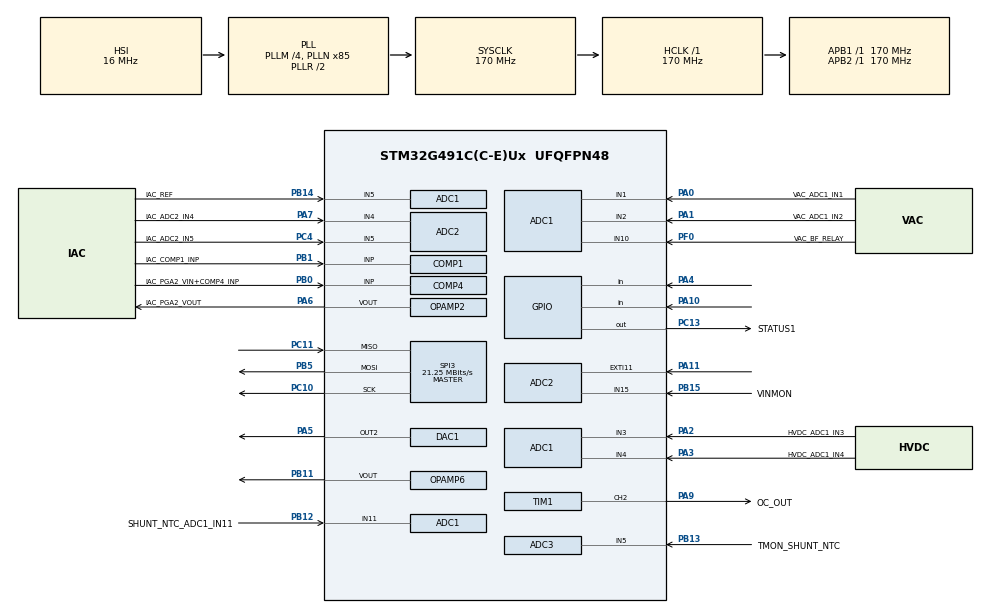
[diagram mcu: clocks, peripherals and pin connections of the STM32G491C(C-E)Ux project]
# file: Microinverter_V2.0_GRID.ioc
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ADC1.Channel-0\#ChannelRegularConversion=ADC_CHANNEL_1
ADC1.Channel-1\#ChannelRegularConversion=ADC_CHANNEL_3
ADC1.ClockPrescaler=ADC_CLOCK_ASYNC_DIV1
ADC1.DMAAccessModeView=ENABLE
ADC1.DMAContinuousRequests=ENABLE
ADC1.EOCSelection=ADC_EOC_SEQ_CONV
ADC1.EnableInjectedConversion=ENABLE
ADC1.ExternalTrigConv=ADC_EXTERNALTRIG_EXT_IT11
ADC1.ExternalTrigConvEdge=ADC_EXTERNALTRIGCONVEDGE_RISING
ADC1.InjNumberOfConversion=1
ADC1.InjectedChannel-2\#ChannelInjectedConversion=ADC_CHANNEL_5
ADC1.InjectedOffsetNumber-2\#ChannelInjectedConversion=ADC_OFFSET_NONE
ADC1.InjectedRank-2\#ChannelInjectedConversion=1
ADC1.InjectedSamplingTime-2\#ChannelInjectedConversion=ADC_SAMPLETIME_2CYCLES_5
ADC1.Mode=ADC_DUALMODE_REGINTERL_INJECSIMULT
ADC1.NbrOfConversion=2
ADC1.NbrOfConversionFlag=1
ADC1.OffsetNumber-0\#ChannelRegularConversion=ADC_OFFSET_NONE
ADC1.OffsetNumber-1\#ChannelRegularConversion=ADC_OFFSET_NONE
ADC1.OversamplingMode=ENABLE
ADC1.Rank-0\#ChannelRegularConversion=1
ADC1.Rank-1\#ChannelRegularConversion=2
ADC1.Rank1_Channel=ADC_CHANNEL_5
ADC1.Rank2_Channel=ADC_CHANNEL_1
ADC1.Rank3_Channel=ADC_CHANNEL_1
ADC1.Rank4_Channel=ADC_CHANNEL_1
ADC1.Ratio=ADC_OVERSAMPLING_RATIO_8
ADC1.SamplingTime-0\#ChannelRegularConversion=ADC_SAMPLETIME_2CYCLES_5
ADC1.SamplingTime-1\#ChannelRegularConversion=ADC_SAMPLETIME_2CYCLES_5
ADC1.SingleDiff-0\#ChannelRegularConversion=ADC_DIFFERENTIAL_ENDED
ADC1.SingleDiff-1\#ChannelRegularConversion=ADC_DIFFERENTIAL_ENDED
ADC1.master=1
ADC2.Channel-0\#ChannelRegularConversion=ADC_CHANNEL_4
ADC2.Channel-1\#ChannelRegularConversion=ADC_CHANNEL_4
ADC2.ClockPrescaler=ADC_CLOCK_ASYNC_DIV1
ADC2.DMAAccessModeView=ENABLE
ADC2.DMAContinuousRequests=DISABLE
ADC2.EOCSelection=ADC_EOC_SEQ_CONV
ADC2.EnableInjectedConversion=ENABLE
ADC2.EnableInjectedOversampling=DISABLE
ADC2.InjNumberOfConversion=4
ADC2.InjectedChannel-2\#ChannelInjectedConversion=ADC_CHANNEL_4
ADC2.InjectedChannel-3\#ChannelInjectedConversion=ADC_CHANNEL_4
ADC2.InjectedChannel-4\#ChannelInjectedConversion=ADC_CHANNEL_4
ADC2.InjectedChannel-5\#ChannelInjectedConversion=ADC_CHANNEL_4
ADC2.InjectedOffsetNumber-2\#ChannelInjectedConversion=ADC_OFFSET_NONE
ADC2.InjectedOffsetNumber-3\#ChannelInjectedConversion=ADC_OFFSET_NONE
ADC2.InjectedOffsetNumber-4\#ChannelInjectedConversion=ADC_OFFSET_NONE
ADC2.InjectedOffsetNumber-5\#ChannelInjectedConversion=ADC_OFFSET_NONE
ADC2.InjectedRank-2\#ChannelInjectedConversion=1
ADC2.InjectedRank-3\#ChannelInjectedConversion=2
ADC2.InjectedRank-4\#ChannelInjectedConversion=3
ADC2.InjectedRank-5\#ChannelInjectedConversion=4
ADC2.InjectedSamplingTime-2\#ChannelInjectedConversion=ADC_SAMPLETIME_2CYCLES_5
ADC2.InjectedSamplingTime-3\#ChannelInjectedConversion=ADC_SAMPLETIME_2CYCLES_5
ADC2.InjectedSamplingTime-4\#ChannelInjectedConversion=ADC_SAMPLETIME_2CYCLES_5
ADC2.InjectedSamplingTime-5\#ChannelInjectedConversion=ADC_SAMPLETIME_2CYCLES_5
ADC2.InjectedSingleDiff-2\#ChannelInjectedConversion=ADC_DIFFERENTIAL_ENDED
ADC2.InjectedSingleDiff-3\#ChannelInjectedConversion=ADC_DIFFERENTIAL_ENDED
ADC2.InjectedSingleDiff-4\#ChannelInjectedConversion=ADC_DIFFERENTIAL_ENDED
ADC2.InjectedSingleDiff-5\#ChannelInjectedConversion=ADC_DIFFERENTIAL_ENDED
ADC2.Mode=ADC_DUALMODE_REGINTERL_INJECSIMULT
ADC2.NbrOfConversion=2
ADC2.NbrOfConversionFlag=1
ADC2.OffsetNumber-0\#ChannelRegularConversion=ADC_OFFSET_NONE
ADC2.OffsetNumber-1\#ChannelRegularConversion=ADC_OFFSET_NONE
ADC2.OversamplingMode=ENABLE
ADC2.Rank-0\#ChannelRegularConversion=1
ADC2.Rank-1\#ChannelRegularConversion=2
ADC2.Rank1_Channel=ADC_CHANNEL_4
ADC2.Rank2_Channel=ADC_CHANNEL_4
ADC2.Rank3_Channel=ADC_CHANNEL_4
ADC2.Rank4_Channel=ADC_CHANNEL_4
ADC2.Ratio=ADC_OVERSAMPLING_RATIO_8
ADC2.SamplingTime-0\#ChannelRegularConversion=ADC_SAMPLETIME_2CYCLES_5
ADC2.SamplingTime-1\#ChannelRegularConversion=ADC_SAMPLETIME_2CYCLES_5
ADC2.SingleDiff-0\#ChannelRegularConversion=ADC_DIFFERENTIAL_ENDED
ADC2.SingleDiff-1\#ChannelRegularConversion=ADC_DIFFERENTIAL_ENDED
ADC3.Channel-0\#ChannelRegularConversion=ADC_CHANNEL_5
ADC3.NbrOfConversionFlag=1
ADC3.OffsetNumber-0\#ChannelRegularConversion=ADC_OFFSET_NONE
ADC3.Rank-0\#ChannelRegularConversion=1
ADC3.SamplingTime-0\#ChannelRegularConversion=ADC_SAMPLETIME_2CYCLES_5
ADC3.master=1
COMP1.Hysteresis=COMP_HYSTERESIS_30MV
COMP1.OutputPol=COMP_OUTPUTPOL_INVERTED
COMP1.TriggerMode=COMP_TRIGGERMODE_NONE
COMP4.Hysteresis=COMP_HYSTERESIS_30MV
COMP4.TriggerMode=COMP_TRIGGERMODE_NONE
DAC1.DAC_Channel-DAC_OUT2=DAC_CHANNEL_2
DAC3.DAC_Channel-DAC_OUT2_Int=DAC_CHANNEL_2
Dma.ADC1.0.Direction=DMA_PERIPH_TO_MEMORY
Dma.ADC1.0.EventEnable=DISABLE
Dma.ADC1.0.Instance=DMA1_Channel1
Dma.ADC1.0.MemDataAlignment=DMA_MDATAALIGN_WORD
Dma.ADC1.0.MemInc=DMA_MINC_ENABLE
Dma.ADC1.0.Mode=DMA_CIRCULAR
Dma.ADC1.0.PeriphDataAlignment=DMA_PDATAALIGN_WORD
Dma.ADC1.0.PeriphInc=DMA_PINC_DISABLE
Dma.ADC1.0.Polarity=HAL_DMAMUX_REQ_GEN_RISING
Dma.ADC1.0.Priority=DMA_PRIORITY_HIGH
Dma.ADC1.0.RequestNumber=1
Dma.ADC1.0.SignalID=NONE
Dma.ADC1.0.SyncEnable=DISABLE
Dma.ADC1.0.SyncPolarity=HAL_DMAMUX_SYNC_NO_EVENT
Dma.ADC1.0.SyncRequestNumber=1
Dma.ADC1.0.SyncSignalID=NONE
Dma.Request0=ADC1
Mcu.Family=STM32G4
Mcu.Name=STM32G491C(C-E)Ux
Mcu.Package=UFQFPN48
NVIC.DMA1_Channel1_IRQn=true\:1\:0\:true\:false\:true\:false\:false\:true
NVIC.PriorityGroup=NVIC_PRIORITYGROUP_4
NVIC.TIM1_BRK_TIM15_IRQn=true\:0\:0\:false\:false\:true\:true\:true\:true
OPAMP2.PowerMode=OPAMP_POWERMODE_HIGHSPEED
OPAMP6.PowerMode=OPAMP_POWERMODE_HIGHSPEED
PA0.GPIO_Label=VAC_ADC1_IN1
PA0.Mode=IN1-Differential
PA0.Signal=ADC1_IN1
PA1.GPIO_Label=VAC_ADC1_IN2
PA1.Mode=IN1-Differential
PA1.Signal=ADC1_IN2
PA10.Signal=GPIO_Input
PA11.Signal=GPXTI11
PA13.Mode=Trace_Asynchronous_SW
PA13.Signal=SYS_JTMS-SWDIO
PA14.Mode=Trace_Asynchronous_SW
PA14.Signal=SYS_JTCK-SWCLK
PA2.GPIO_Label=HVDC_ADC1_IN3
PA2.Mode=IN3-Differential
PA2.Signal=ADC1_IN3
PA3.GPIO_Label=HVDC_ADC1_IN4
PA3.Mode=IN3-Differential
PA3.Signal=ADC1_IN4
PA4.Signal=GPIO_Input
PA5.Signal=COMP_DAC12_group
PA6.GPIO_Label=IAC_PGA2_VOUT
PA6.Mode=PGA Not Connected
PA6.Signal=OPAMP2_VOUT
PA7.GPIO_Label=IAC_ADC2_IN4
PA7.Mode=IN4-Differential
PA7.Signal=ADC2_IN4
PA9.GPIO_Label=OC_OUT
PA9.GPIO_PuPd=GPIO_PULLDOWN
PA9.GPIO_Speed=GPIO_SPEED_FREQ_HIGH
PA9.Signal=S_TIM1_CH2
PB0.GPIO_Label=IAC_PGA2_VIN+COMP4_INP
PB0.Signal=SharedAnalog_PB0
PB1.GPIO_Label=IAC_COMP1_INP
PB1.Mode=INP
PB1.Signal=COMP1_INP
PB11.Mode=Follower-DAC_OUT2-INP
PB11.Signal=OPAMP6_VOUT
PB12.GPIO_Label=SHUNT_NTC_ADC1_IN11
PB12.Mode=IN11-Single-Ended
PB12.Signal=ADC1_IN11
PB13.GPIO_Label=TMON_SHUNT_NTC
PB13.Signal=SharedAnalog_PB13
PB14.GPIO_Label=IAC_REF
PB14.Mode=IN5-Single-Ended
PB14.Signal=ADC1_IN5
PB15.GPIO_Label=VINMON
PB15.Mode=IN15-Single-Ended
PB15.Signal=ADC2_IN15
PB3.Mode=Trace_Asynchronous_SW
PB3.Signal=SYS_JTDO-SWO
PB5.GPIO_Speed=GPIO_SPEED_FREQ_HIGH
PB5.Mode=Full_Duplex_Master
PB5.Signal=SPI3_MOSI
PC10.GPIO_Speed=GPIO_SPEED_FREQ_HIGH
PC10.Mode=Full_Duplex_Master
PC10.Signal=SPI3_SCK
PC11.GPIO_Speed=GPIO_SPEED_FREQ_HIGH
PC11.Mode=Full_Duplex_Master
PC11.Signal=SPI3_MISO
PC13.GPIO_Label=STATUS1
PC13.Signal=GPIO_Output
PC4.GPIO_Label=IAC_ADC2_IN5
PC4.Mode=IN4-Differential
PC4.Signal=ADC2_IN5
PF0-OSC_IN.GPIO_Label=VAC_BF_RELAY
PF0-OSC_IN.Mode=IN10-Single-Ended
PF0-OSC_IN.Signal=ADC1_IN10
ProjectManager.HeapSize=0x200
ProjectManager.StackSize=0x400
ProjectManager.TargetToolchain=STM32CubeIDE
RCC.ADC12CLockSelection=RCC_ADC12CLKSOURCE_PLL
RCC.ADC12Freq_Value=56666666.666666664
RCC.ADC345Freq_Value=170000000
RCC.AHBFreq_Value=170000000
RCC.APB1Freq_Value=170000000
RCC.APB1TimFreq_Value=170000000
RCC.APB2Freq_Value=170000000
RCC.APB2TimFreq_Value=170000000
RCC.CortexFreq_Value=170000000
RCC.EXTERNAL_CLOCK_VALUE=12288000
RCC.HCLKFreq_Value=170000000
RCC.HSE_VALUE=8000000
RCC.HSI48_VALUE=48000000
RCC.HSI_VALUE=16000000
RCC.LSE_VALUE=32768
RCC.PLLM=RCC_PLLM_DIV4
RCC.PLLN=85
RCC.PLLP=RCC_PLLP_DIV6
RCC.SYSCLKFreq_VALUE=170000000
RCC.SYSCLKSource=RCC_SYSCLKSOURCE_PLLCLK
RCC.USBFreq_Value=48000000
RCC.VCOOutputFreq_Value=340000000
SH.COMP_DAC12_group.0=DAC1_OUT2,DAC_OUT2
SH.S_TIM1_CH2.0=TIM1_CH2,PWM Generation2 CH2
SH.SharedAnalog_PB0.0=COMP4_INP,INP
SH.SharedAnalog_PB0.1=OPAMP2_VINP,PGA Not Connected
SH.SharedAnalog_PB13.0=OPAMP6_VINP
SH.SharedAnalog_PB13.1=ADC3_IN5,IN5-Single-Ended
SPI3.BaudRatePrescaler=SPI_BAUDRATEPRESCALER_8
SPI3.CalculateBaudRate=21.25 MBits/s
SPI3.DataSize=SPI_DATASIZE_16BIT
SPI3.Direction=SPI_DIRECTION_2LINES
SPI3.Mode=SPI_MODE_MASTER
SPI3.VirtualType=VM_MASTER
TIM1.AutomaticOutput=TIM_AUTOMATICOUTPUT_DISABLE
TIM1.BreakFilter=5
TIM1.BreakState=TIM_BREAK_ENABLE
TIM1.Channel-PWM\ Generation2\ CH2=TIM_CHANNEL_2
TIM1.OCFastMode_PWM-PWM\ Generation2\ CH2=TIM_OCFAST_ENABLE
TIM1.OCIdleState_2=TIM_OCIDLESTATE_SET
TIM1.OCPolarity_2=TIM_OCPOLARITY_LOW
TIM1.OffStateIDLEMode=TIM_OSSI_ENABLE
TIM1.OffStateRunMode=TIM_OSSR_ENABLE
TIM1.PulseNoDither_2=65535
TIM1.SourceBRKCOMP1=TIM_BREAKINPUTSOURCE_ENABLE
TIM1.SourceBRKCOMP4=TIM_BREAKINPUTSOURCE_ENABLE
TIM1.SourceBRKDigInput=TIM_BREAKINPUTSOURCE_DISABLE
TIM1.TIM_MasterOutputTrigger=TIM_TRGO_UPDATE
TIM1.TIM_MasterOutputTrigger2=TIM_TRGO2_RESET
VP_ADC1_TempSens_Input.Mode=IN-TempSens
VP_COMP1_VS_DAC1OUT1.Mode=INM_DAC1OUT1
VP_COMP4_VS_DAC3OUT2.Mode=INM_DAC3OUT2
VP_DAC1_VS_DACI1.Mode=DAC_OUT1_Int
VP_DAC3_VS_DACI1.Mode=DAC_OUT1_Int
VP_DAC3_VS_DACI2.Mode=DAC_OUT2_Int
VP_SYS_VS_DBSignals.Mode=DisableDeadBatterySignals
VP_TIM1_VS_ClockSourceINT.Mode=Internal
VP_TIM1_VS_OPM.Mode=OPM_bit
board=custom

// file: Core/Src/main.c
/* USER CODE BEGIN Header */
/**
  ******************************************************************************
  * @file           : main.c
  * @brief          : Main program body
  ******************************************************************************
  * @attention
  *
  * <h2><center>&copy; Copyright (c) 2021 STMicroelectronics.
  * All rights reserved.</center></h2>
  *
  * This software component is licensed by ST under BSD 3-Clause license,
  * the "License"; You may not use this file except in compliance with the
  * License. You may obtain a copy of the License at:
  *                        opensource.org/licenses/BSD-3-Clause
  *
  ******************************************************************************
  */
/* USER CODE END Header */
#include "main.h"

/* USER CODE BEGIN PD */
#define ADC_BUFFER_SIZE 2
#define ADC1_INJ_CODE 4095
#define VREF 2499
#define TEMP110_CAL_VALUE                                           ((uint16_t*)((uint32_t)0x1FFF75A8))
#define TEMP30_CAL_VALUE                                            ((uint16_t*)((uint32_t)0x1FFF75CA))
#define OC_FILTER 10;
/* USER CODE END PD */

 ADC_HandleTypeDef hadc1;
ADC_HandleTypeDef hadc2;
ADC_HandleTypeDef hadc3;
DMA_HandleTypeDef hdma_adc1;

COMP_HandleTypeDef hcomp1;
COMP_HandleTypeDef hcomp4;

DAC_HandleTypeDef hdac1;
DAC_HandleTypeDef hdac3;

SPI_HandleTypeDef hspi3;

TIM_HandleTypeDef htim1;

/* USER CODE BEGIN PV */
uint32_t ADC12_BUFFER[ADC_BUFFER_SIZE] = {0};
uint32_t ADC2_BUFFER[ADC_BUFFER_SIZE] = {0};

uint32_t IAC_AVG=0;
uint32_t VAC_AVG=0;
uint32_t HVDC_AVG=0;

uint32_t IAC_AVG_2=0;

uint16_t ADC_DRIVERS_MID_VOLTAGE = 0X7FE;
uint16_t IAC_OPAMP_MID_VOLTAGE = 0X418; // quarter VREF when PGA x2
uint16_t OVERCURRENT_THS = 0X799;
uint16_t OVERCURRENT_MID = 0X800;

uint16_t VAC_ADC_VAL = 0x4000;
uint16_t IAC_ADC_VAL = 0x4000;
uint16_t HVDC_ADC_VAL = 0x4000;

uint16_t VAC_ADC_VAL_2 = 0;
uint16_t IAC_ADC_VAL_2 = 0;
uint16_t HVDC_ADC_VAL_2 = 0;

uint16_t INJ_IAC_ADC_VAL = 0;

uint16_t INJ_IAC_ADC_VAL_2 = 0;

uint32_t tmp_jdr1;
uint32_t tmp_jdr2;
uint32_t tmp_jdr3;
uint32_t tmp_jdr4;

uint16_t IAC_REF = 0;
uint16_t VIN_MON = 0;
uint16_t VAC_ADC_VAL_BF_REL = 0;
uint16_t SHUNT_NTC_VAL = 0;
uint16_t INT_TEMP_VAL = 0;

uint16_t IAC_ADC_VAL_BUFF[500] = {0};

uint8_t aqusitionDMA1_1 = 0;
uint8_t *ptr_aqusitionDMA1_1;
uint8_t frequency_factor = 1;

uint8_t injected_adc = 0;

uint16_t ii = 0;

uint16_t SPI_TxBuffer[SPI_TX_BUFFER_SIZE] = {0};

uint16_t SPI_RxBuffer[SPI_RX_BUFFER_SIZE] = {0};

uint16_t *ptr_SPI_TxBuffer;

uint16_t *ptr_SPI_RxBuffer;

uint16_t OC_PROT_ON = 0;
/* USER CODE END PV */

void SystemClock_Config(void);
static void MX_GPIO_Init(void);
static void MX_DMA_Init(void);
static void MX_ADC1_Init(void);
static void MX_ADC2_Init(void);
static void MX_COMP1_Init(void);
static void MX_COMP4_Init(void);
static void MX_DAC1_Init(void);
static void MX_DAC3_Init(void);
static void MX_OPAMP2_Init(void);
static void MX_OPAMP6_Init(void);
static void MX_SPI3_Init(void);
static void MX_TIM1_Init(void);
static void MX_ADC3_Init(void);
/* USER CODE BEGIN PFP */
uint16_t GetLSB(uint32_t intValue);
uint16_t GetMSB(uint32_t intValue);
void spi_w16( SPI_TypeDef *SPIx, uint16_t dat );
void SPIx_Transfer2(SPI_TypeDef *SPIx, uint16_t *outp, uint16_t *inp, uint16_t count);
void __attribute__( ( optimize( "O0" ) ) )delay_cycles( uint32_t cyc );
static void CORRECT_OPAMP6_Init(void);

uint16_t Status_Val = 0;
/* USER CODE END PFP */

int main(void)
{

  /* MCU Configuration--------------------------------------------------------*/

  /* Reset of all peripherals, Initializes the Flash interface and the Systick. */
  HAL_Init();

  /* Configure the system clock */
  SystemClock_Config();

  /* Initialize all configured peripherals */
  MX_GPIO_Init();
  MX_DMA_Init();
  MX_ADC1_Init();
  MX_ADC2_Init();
  MX_COMP1_Init();
  MX_COMP4_Init();
  MX_DAC1_Init();
  MX_DAC3_Init();
  MX_OPAMP2_Init();
  MX_SPI3_Init();
  MX_TIM1_Init();
  MX_ADC3_Init();
  /* USER CODE BEGIN 2 */
  CORRECT_OPAMP6_Init();

  //HAL_OPAMP_Start(&hopamp2);
  //HAL_OPAMP_Start(&hopamp6);
  OPAMP2->CSR |=OPAMP_CSR_OPAMPxEN; //OPAMP2 ENABLE   - IAC CURRENT OPAMP
  OPAMP6->CSR |=OPAMP_CSR_OPAMPxEN; //OPAMP6 ENABLE   - NTC VOLTAGE OPAMP

  HAL_ADCEx_Calibration_Start(&hadc1,ADC_DIFFERENTIAL_ENDED);
  HAL_ADCEx_Calibration_Start(&hadc2,ADC_DIFFERENTIAL_ENDED);

  //HAL_ADC_Start(&hadc2);
  //HAL_ADCEx_MultiModeStart_DMA(&hadc1, (uint32_t*)ADC12_BUFFER, ADC_BUFFER_SIZE);
  //HAL_TIM_Base_Start(&htim1);

  //DAC3 CHANNEL 1 - COMP1 input  (AC GRID OVERCURRENT LOW ) // 30% max val
  DAC1 ->DHR12R1 = (uint32_t)(OVERCURRENT_MID - OVERCURRENT_THS); //DAC3 CHANNEL 2 SET VALUE
  DAC1->CR |= DAC_CR_EN1; //ENABLE DAC1 CHANNEL 1
  while(!(DAC1->SR & DAC_SR_DAC1RDY)); //WAIT UNTIL DAC1 CHANNEL 1 IS READY
  DAC1 ->SWTRIGR |= DAC_SWTRIGR_SWTRIG1;

  //DAC1 CHANNEL 2
  DAC1 ->DHR12R2 = (uint32_t)ADC_DRIVERS_MID_VOLTAGE; //DAC1 CHANNEL 2 SET VALUE //1.25V - OPAMP ADC DRIVERS MID VOLTAGE
  DAC1->CR |= DAC_CR_EN2; //ENABLE DAC1 CHANNEL 2
  while(!(DAC1->SR & DAC_SR_DAC2RDY)); //WAIT UNTIL DAC1 CHANNEL 2 IS READY
  DAC1 ->SWTRIGR |= DAC_SWTRIGR_SWTRIG2;

  //DAC3 ->DHR12R1 = (uint32_t)(OVERCURRENT_MID - OVERCURRENT_THS); //DAC3 CHANNEL 2 SET VALUE
  DAC3 ->DHR12R1 = (uint32_t)IAC_OPAMP_MID_VOLTAGE; //DAC1 CHANNEL 2 SET VALUE // - IAC MID VOLTAGE
  DAC3->CR |= DAC_CR_EN1; //ENABLE DAC1 CHANNEL 1
  while(!(DAC3->SR & DAC_SR_DAC1RDY)); //WAIT UNTIL DAC3 IS READY
  DAC3 ->SWTRIGR |= DAC_SWTRIGR_SWTRIG1;

  //DAC3 CHANNEL 2 - COMP4 input (AC GRID OVERCURRENT HIGH)
  DAC3 ->DHR12R2 = (uint32_t)(OVERCURRENT_MID + OVERCURRENT_THS); //DAC3 CHANNEL 2 SET VALUE // 70% max val
  DAC3->CR |= DAC_CR_EN2; //ENABLE DAC3 CHANNEL 2
  while(!(DAC3->SR & DAC_SR_DAC2RDY)); //WAIT UNTIL DAC3 CHANNEL 2 IS READY
  DAC3 ->SWTRIGR |= DAC_SWTRIGR_SWTRIG2;

  if (HAL_ADCEx_MultiModeStart_DMA(&hadc1, (uint32_t*)ADC12_BUFFER, ADC_BUFFER_SIZE) != HAL_OK)
  {
    Error_Handler();
  }
  //HAL_ADC_Start_DMA(&hadc1, (uint32_t*)ADC12_BUFFER, ADC_BUFFER_SIZE);

  HAL_COMP_Start(&hcomp1);
  HAL_COMP_Start(&hcomp4);

  //HAL_TIM_PWM_Start_IT(&htim1, TIM_CHANNEL_2); // Overcurrent Out form Comp1/Comp4

   //HAL_TIM_OnePulse_Start_IT(&htim1, TIM_CHANNEL_2); // Overcurrent Out form Comp1/Comp4

   ptr_aqusitionDMA1_1 = &aqusitionDMA1_1;

   ptr_SPI_TxBuffer =&SPI_TxBuffer[0];

   ptr_SPI_RxBuffer =&SPI_RxBuffer[0];

   // Enable the SPI3 peripheral.
   SPI3->CR1 |=  ( SPI_CR1_SPE );

   //HAL_TIM_OnePulse_Start_IT(&htim1, TIM_CHANNEL_2); // Overcurrent Out form Comp1/Comp4
   HAL_GPIO_WritePin(STATUS1_GPIO_Port, STATUS1_Pin, RESET);
  /* USER CODE END 2 */

  /* Infinite loop */
  /* USER CODE BEGIN WHILE */
  while (1)
  {

		  if ((*ptr_aqusitionDMA1_1) == 1)
		  {

				if (frequency_factor == 1) // divide transmit PWM Frequency by 2 - So 50 kHz / 2  = 25 kHz up to day
				{
					*ptr_aqusitionDMA1_1 = 0;
				 //IAC_ADC_VAL = (GetMSB(ADC12_BUFFER[1])+GetMSB(ADC12_BUFFER[0]))/2;
				 //VAC_ADC_VAL = GetLSB(ADC12_BUFFER[0]);
				 //HVDC_ADC_VAL = GetLSB(ADC12_BUFFER[1]);

				 //SPI_TxBuffer[0] = IAC_ADC_VAL;
				 //SPI_TxBuffer[1] = VAC_ADC_VAL;
				 //SPI_TxBuffer[2] = HVDC_ADC_VAL;

				 SPI_TxBuffer[0] = (GetMSB(ADC12_BUFFER[1])+GetMSB(ADC12_BUFFER[0]))/2;
				 SPI_TxBuffer[1] = GetLSB(ADC12_BUFFER[0]);
				 SPI_TxBuffer[2] = GetLSB(ADC12_BUFFER[1]);
				 //delay_us(1);
				 //delay_cycles(1);

				 SPIx_Transfer2(SPI3,ptr_SPI_TxBuffer,ptr_SPI_RxBuffer,SPI_TX_BUFFER_SIZE);

				 //HAL_ADCEx_InjectedStart(&hadc2);
				 //HAL_ADCEx_InjectedStart(&hadc1);

				 //IAC_AVG=((uint32_t)((IAC_ADC_VAL + (GetMSB(ADC12_BUFFER[1])+GetMSB(ADC12_BUFFER[0]))/2)/2));
				 //VAC_AVG=((uint32_t)((VAC_ADC_VAL + GetLSB(ADC12_BUFFER[0]))/2));
				 //HVDC_AVG=((uint32_t)((HVDC_ADC_VAL + GetLSB(ADC12_BUFFER[1]))/2));

				 //IAC_ADC_VAL = (uint16_t)IAC_AVG;
				 //VAC_ADC_VAL = (uint16_t)VAC_AVG;
				 //HVDC_ADC_VAL = (uint16_t)HVDC_AVG;

				 //HAL_ADCEx_InjectedPollForConversion(&hadc1, 1);
				 //HAL_ADCEx_InjectedPollForConversion(&hadc2, 1);

				 //tmp_jdr1 = ADC2 -> JDR1;
				 //tmp_jdr2 = ADC2 -> JDR2;
				 //tmp_jdr3 = ADC2 -> JDR3;
				 //tmp_jdr4 = ADC2 -> JDR4;

				 //INJ_IAC_ADC_VAL = (uint16_t)(tmp_jdr1 + tmp_jdr2 + tmp_jdr3 + tmp_jdr4);

				 //frequency_factor++;
				 frequency_factor = 1;

				 Status_Val = SPI_RxBuffer[0];

				 HAL_GPIO_WritePin(STATUS1_GPIO_Port, STATUS1_Pin, RESET);
				}

				else if (frequency_factor == 2)
				{
					//delay_cycles(60);
					//HAL_ADCEx_InjectedStart(&hadc2);
				    //HAL_ADCEx_InjectedStart(&hadc1);

					//IAC_ADC_VAL_2 = (GetMSB(ADC12_BUFFER[1])+GetMSB(ADC12_BUFFER[0]))/2;
					//VAC_ADC_VAL_2 = GetLSB(ADC12_BUFFER[0]);
					//HVDC_ADC_VAL_2 = GetLSB(ADC12_BUFFER[1]);

					//VAC_AVG=((uint32_t)((VAC_ADC_VAL + VAC_ADC_VAL_2)/2));
					//HVDC_AVG=((uint32_t)((HVDC_ADC_VAL + HVDC_ADC_VAL_2)/2));

					//VAC_ADC_VAL = (uint16_t)VAC_AVG;
					//HVDC_ADC_VAL = (uint16_t)HVDC_AVG;

					//HAL_ADCEx_InjectedPollForConversion(&hadc1, 1);
					//HAL_ADCEx_InjectedPollForConversion(&hadc2, 1);

					//tmp_jdr1 = ADC2 -> JDR1;
					//tmp_jdr2 = ADC2 -> JDR2;
					//tmp_jdr3 = ADC2 -> JDR3;
					//tmp_jdr4 = ADC2 -> JDR4;

					//INJ_IAC_ADC_VAL_2 = (uint16_t)(tmp_jdr1 + tmp_jdr2 + tmp_jdr3 + tmp_jdr4);

					//IAC_AVG=((uint32_t)(IAC_ADC_VAL + IAC_ADC_VAL_2) / 2);
					//IAC_ADC_VAL = (uint16_t)IAC_AVG;

					frequency_factor = 1;

					  if(Status_Val == 0x15) // GRID INSERTION
					  {
						  if(OC_PROT_ON < 2000)
							  {
								  OC_PROT_ON++;
							  }
						  if(OC_PROT_ON == 2000)
							  {

								  OC_PROT_ON = 2001;
							  }
						  /* Enable the TIM Capture/Compare 2 interrupt */
						  __HAL_TIM_ENABLE_IT(&htim1, TIM_IT_CC2);
						  /* Set or reset the CCxE Bit */
						  TIM1->CCER |= (uint32_t)(TIM_CCx_ENABLE << (TIM_CHANNEL_2 & 0x1FU)); /* 0x1FU = 31 bits max shift */
						  /* Enable the main output */
						  TIM1->BDTR |= (TIM_BDTR_MOE);

						  //HAL_GPIO_WritePin(STATUS1_GPIO_Port, STATUS1_Pin, SET);
					  }
					  HAL_GPIO_WritePin(STATUS1_GPIO_Port, STATUS1_Pin, RESET);
				}

				//*ptr_aqusitionDMA1_1 = 0;

		}

    /* USER CODE END WHILE */

  }
}

void SystemClock_Config(void)
{
  RCC_OscInitTypeDef RCC_OscInitStruct = {0};
  RCC_ClkInitTypeDef RCC_ClkInitStruct = {0};

  /** Configure the main internal regulator output voltage
  */
  HAL_PWREx_ControlVoltageScaling(PWR_REGULATOR_VOLTAGE_SCALE1_BOOST);

  /** Initializes the RCC Oscillators according to the specified parameters
  * in the RCC_OscInitTypeDef structure.
  */
  RCC_OscInitStruct.OscillatorType = RCC_OSCILLATORTYPE_HSI;
  RCC_OscInitStruct.HSIState = RCC_HSI_ON;
  RCC_OscInitStruct.HSICalibrationValue = RCC_HSICALIBRATION_DEFAULT;
  RCC_OscInitStruct.PLL.PLLState = RCC_PLL_ON;
  RCC_OscInitStruct.PLL.PLLSource = RCC_PLLSOURCE_HSI;
  RCC_OscInitStruct.PLL.PLLM = RCC_PLLM_DIV4;
  RCC_OscInitStruct.PLL.PLLN = 85;
  RCC_OscInitStruct.PLL.PLLP = RCC_PLLP_DIV6;
  RCC_OscInitStruct.PLL.PLLQ = RCC_PLLQ_DIV2;
  RCC_OscInitStruct.PLL.PLLR = RCC_PLLR_DIV2;
  if (HAL_RCC_OscConfig(&RCC_OscInitStruct) != HAL_OK)
  {
    Error_Handler();
  }

  /** Initializes the CPU, AHB and APB buses clocks
  */
  RCC_ClkInitStruct.ClockType = RCC_CLOCKTYPE_HCLK|RCC_CLOCKTYPE_SYSCLK
                              |RCC_CLOCKTYPE_PCLK1|RCC_CLOCKTYPE_PCLK2;
  RCC_ClkInitStruct.SYSCLKSource = RCC_SYSCLKSOURCE_PLLCLK;
  RCC_ClkInitStruct.AHBCLKDivider = RCC_SYSCLK_DIV1;
  RCC_ClkInitStruct.APB1CLKDivider = RCC_HCLK_DIV1;
  RCC_ClkInitStruct.APB2CLKDivider = RCC_HCLK_DIV1;

  if (HAL_RCC_ClockConfig(&RCC_ClkInitStruct, FLASH_LATENCY_4) != HAL_OK)
  {
    Error_Handler();
  }
}

static void MX_ADC1_Init(void)
{

  ADC_MultiModeTypeDef multimode = {0};
  ADC_ChannelConfTypeDef sConfig = {0};
  ADC_InjectionConfTypeDef sConfigInjected = {0};

  /** Common config
  */
  hadc1.Instance = ADC1;
  hadc1.Init.ClockPrescaler = ADC_CLOCK_ASYNC_DIV1;
  hadc1.Init.Resolution = ADC_RESOLUTION_12B;
  hadc1.Init.DataAlign = ADC_DATAALIGN_RIGHT;
  hadc1.Init.GainCompensation = 0;
  hadc1.Init.ScanConvMode = ADC_SCAN_ENABLE;
  hadc1.Init.EOCSelection = ADC_EOC_SEQ_CONV;
  hadc1.Init.LowPowerAutoWait = DISABLE;
  hadc1.Init.ContinuousConvMode = DISABLE;
  hadc1.Init.NbrOfConversion = 2;
  hadc1.Init.DiscontinuousConvMode = DISABLE;
  hadc1.Init.ExternalTrigConv = ADC_EXTERNALTRIG_EXT_IT11;
  hadc1.Init.ExternalTrigConvEdge = ADC_EXTERNALTRIGCONVEDGE_FALLING;
  hadc1.Init.DMAContinuousRequests = ENABLE;
  hadc1.Init.Overrun = ADC_OVR_DATA_PRESERVED;
  hadc1.Init.OversamplingMode = ENABLE;
  hadc1.Init.Oversampling.Ratio = ADC_OVERSAMPLING_RATIO_8;
  hadc1.Init.Oversampling.RightBitShift = ADC_RIGHTBITSHIFT_NONE;
  hadc1.Init.Oversampling.TriggeredMode = ADC_TRIGGEREDMODE_SINGLE_TRIGGER;
  hadc1.Init.Oversampling.OversamplingStopReset = ADC_REGOVERSAMPLING_CONTINUED_MODE;
  if (HAL_ADC_Init(&hadc1) != HAL_OK)
  {
    Error_Handler();
  }

  /** Configure the ADC multi-mode
  */
  multimode.Mode = ADC_DUALMODE_REGINTERL_INJECSIMULT;
  multimode.DMAAccessMode = ADC_DMAACCESSMODE_12_10_BITS;
  multimode.TwoSamplingDelay = ADC_TWOSAMPLINGDELAY_1CYCLE;
  if (HAL_ADCEx_MultiModeConfigChannel(&hadc1, &multimode) != HAL_OK)
  {
    Error_Handler();
  }

  /** Configure Regular Channel
  */
  sConfig.Channel = ADC_CHANNEL_1;
  sConfig.Rank = ADC_REGULAR_RANK_1;
  sConfig.SamplingTime = ADC_SAMPLETIME_2CYCLES_5;
  sConfig.SingleDiff = ADC_DIFFERENTIAL_ENDED;
  sConfig.OffsetNumber = ADC_OFFSET_NONE;
  sConfig.Offset = 0;
  if (HAL_ADC_ConfigChannel(&hadc1, &sConfig) != HAL_OK)
  {
    Error_Handler();
  }

  /** Configure Regular Channel
  */
  sConfig.Channel = ADC_CHANNEL_3;
  sConfig.Rank = ADC_REGULAR_RANK_2;
  if (HAL_ADC_ConfigChannel(&hadc1, &sConfig) != HAL_OK)
  {
    Error_Handler();
  }

  /** Configure Injected Channel
  */
  sConfigInjected.InjectedChannel = ADC_CHANNEL_5;
  sConfigInjected.InjectedRank = ADC_INJECTED_RANK_1;
  sConfigInjected.InjectedSamplingTime = ADC_SAMPLETIME_2CYCLES_5;
  sConfigInjected.InjectedSingleDiff = ADC_SINGLE_ENDED;
  sConfigInjected.InjectedOffsetNumber = ADC_OFFSET_NONE;
  sConfigInjected.InjectedOffset = 0;
  sConfigInjected.InjectedNbrOfConversion = 1;
  sConfigInjected.InjectedDiscontinuousConvMode = DISABLE;
  sConfigInjected.AutoInjectedConv = DISABLE;
  sConfigInjected.QueueInjectedContext = DISABLE;
  sConfigInjected.ExternalTrigInjecConv = ADC_INJECTED_SOFTWARE_START;
  sConfigInjected.ExternalTrigInjecConvEdge = ADC_EXTERNALTRIGINJECCONV_EDGE_NONE;
  sConfigInjected.InjecOversamplingMode = DISABLE;
  if (HAL_ADCEx_InjectedConfigChannel(&hadc1, &sConfigInjected) != HAL_OK)
  {
    Error_Handler();
  }

}

static void MX_ADC2_Init(void)
{

  ADC_ChannelConfTypeDef sConfig = {0};
  ADC_InjectionConfTypeDef sConfigInjected = {0};

  /** Common config
  */
  hadc2.Instance = ADC2;
  hadc2.Init.ClockPrescaler = ADC_CLOCK_ASYNC_DIV1;
  hadc2.Init.Resolution = ADC_RESOLUTION_12B;
  hadc2.Init.DataAlign = ADC_DATAALIGN_RIGHT;
  hadc2.Init.GainCompensation = 0;
  hadc2.Init.ScanConvMode = ADC_SCAN_ENABLE;
  hadc2.Init.EOCSelection = ADC_EOC_SEQ_CONV;
  hadc2.Init.LowPowerAutoWait = DISABLE;
  hadc2.Init.ContinuousConvMode = DISABLE;
  hadc2.Init.NbrOfConversion = 2;
  hadc2.Init.DiscontinuousConvMode = DISABLE;
  hadc2.Init.DMAContinuousRequests = DISABLE;
  hadc2.Init.Overrun = ADC_OVR_DATA_PRESERVED;
  hadc2.Init.OversamplingMode = ENABLE;
  hadc2.Init.Oversampling.Ratio = ADC_OVERSAMPLING_RATIO_8;
  hadc2.Init.Oversampling.RightBitShift = ADC_RIGHTBITSHIFT_NONE;
  hadc2.Init.Oversampling.TriggeredMode = ADC_TRIGGEREDMODE_SINGLE_TRIGGER;
  hadc2.Init.Oversampling.OversamplingStopReset = ADC_REGOVERSAMPLING_CONTINUED_MODE;
  if (HAL_ADC_Init(&hadc2) != HAL_OK)
  {
    Error_Handler();
  }

  /** Configure Regular Channel
  */
  sConfig.Channel = ADC_CHANNEL_4;
  sConfig.Rank = ADC_REGULAR_RANK_1;
  sConfig.SamplingTime = ADC_SAMPLETIME_2CYCLES_5;
  sConfig.SingleDiff = ADC_DIFFERENTIAL_ENDED;
  sConfig.OffsetNumber = ADC_OFFSET_NONE;
  sConfig.Offset = 0;
  if (HAL_ADC_ConfigChannel(&hadc2, &sConfig) != HAL_OK)
  {
    Error_Handler();
  }

  /** Configure Regular Channel
  */
  sConfig.Rank = ADC_REGULAR_RANK_2;
  if (HAL_ADC_ConfigChannel(&hadc2, &sConfig) != HAL_OK)
  {
    Error_Handler();
  }

  /** Configure Injected Channel
  */
  sConfigInjected.InjectedChannel = ADC_CHANNEL_4;
  sConfigInjected.InjectedRank = ADC_INJECTED_RANK_1;
  sConfigInjected.InjectedSamplingTime = ADC_SAMPLETIME_2CYCLES_5;
  sConfigInjected.InjectedSingleDiff = ADC_DIFFERENTIAL_ENDED;
  sConfigInjected.InjectedOffsetNumber = ADC_OFFSET_NONE;
  sConfigInjected.InjectedOffset = 0;
  sConfigInjected.InjectedNbrOfConversion = 4;
  sConfigInjected.InjectedDiscontinuousConvMode = DISABLE;
  sConfigInjected.AutoInjectedConv = DISABLE;
  sConfigInjected.QueueInjectedContext = DISABLE;
  sConfigInjected.InjecOversamplingMode = DISABLE;
  if (HAL_ADCEx_InjectedConfigChannel(&hadc2, &sConfigInjected) != HAL_OK)
  {
    Error_Handler();
  }

  /** Configure Injected Channel
  */
  sConfigInjected.InjectedRank = ADC_INJECTED_RANK_2;
  if (HAL_ADCEx_InjectedConfigChannel(&hadc2, &sConfigInjected) != HAL_OK)
  {
    Error_Handler();
  }

  /** Configure Injected Channel
  */
  sConfigInjected.InjectedRank = ADC_INJECTED_RANK_3;
  if (HAL_ADCEx_InjectedConfigChannel(&hadc2, &sConfigInjected) != HAL_OK)
  {
    Error_Handler();
  }

  /** Configure Injected Channel
  */
  sConfigInjected.InjectedRank = ADC_INJECTED_RANK_4;
  if (HAL_ADCEx_InjectedConfigChannel(&hadc2, &sConfigInjected) != HAL_OK)
  {
    Error_Handler();
  }

}

static void MX_ADC3_Init(void)
{

  ADC_ChannelConfTypeDef sConfig = {0};

  /** Common config
  */
  hadc3.Instance = ADC3;
  hadc3.Init.ClockPrescaler = ADC_CLOCK_SYNC_PCLK_DIV4;
  hadc3.Init.Resolution = ADC_RESOLUTION_12B;
  hadc3.Init.DataAlign = ADC_DATAALIGN_RIGHT;
  hadc3.Init.GainCompensation = 0;
  hadc3.Init.ScanConvMode = ADC_SCAN_DISABLE;
  hadc3.Init.EOCSelection = ADC_EOC_SINGLE_CONV;
  hadc3.Init.LowPowerAutoWait = DISABLE;
  hadc3.Init.ContinuousConvMode = DISABLE;
  hadc3.Init.NbrOfConversion = 1;
  hadc3.Init.DiscontinuousConvMode = DISABLE;
  hadc3.Init.ExternalTrigConv = ADC_SOFTWARE_START;
  hadc3.Init.ExternalTrigConvEdge = ADC_EXTERNALTRIGCONVEDGE_NONE;
  hadc3.Init.DMAContinuousRequests = DISABLE;
  hadc3.Init.Overrun = ADC_OVR_DATA_PRESERVED;
  hadc3.Init.OversamplingMode = DISABLE;
  if (HAL_ADC_Init(&hadc3) != HAL_OK)
  {
    Error_Handler();
  }

  /** Configure Regular Channel
  */
  sConfig.Channel = ADC_CHANNEL_5;
  sConfig.Rank = ADC_REGULAR_RANK_1;
  sConfig.SamplingTime = ADC_SAMPLETIME_2CYCLES_5;
  sConfig.SingleDiff = ADC_SINGLE_ENDED;
  sConfig.OffsetNumber = ADC_OFFSET_NONE;
  sConfig.Offset = 0;
  if (HAL_ADC_ConfigChannel(&hadc3, &sConfig) != HAL_OK)
  {
    Error_Handler();
  }

}

static void MX_COMP1_Init(void)
{

  hcomp1.Instance = COMP1;
  hcomp1.Init.InputPlus = COMP_INPUT_PLUS_IO2;
  hcomp1.Init.InputMinus = COMP_INPUT_MINUS_DAC1_CH1;
  hcomp1.Init.OutputPol = COMP_OUTPUTPOL_INVERTED;
  hcomp1.Init.Hysteresis = COMP_HYSTERESIS_30MV;
  hcomp1.Init.BlankingSrce = COMP_BLANKINGSRC_NONE;
  hcomp1.Init.TriggerMode = COMP_TRIGGERMODE_NONE;
  if (HAL_COMP_Init(&hcomp1) != HAL_OK)
  {
    Error_Handler();
  }

}

static void MX_COMP4_Init(void)
{

  hcomp4.Instance = COMP4;
  hcomp4.Init.InputPlus = COMP_INPUT_PLUS_IO1;
  hcomp4.Init.InputMinus = COMP_INPUT_MINUS_DAC3_CH2;
  hcomp4.Init.OutputPol = COMP_OUTPUTPOL_NONINVERTED;
  hcomp4.Init.Hysteresis = COMP_HYSTERESIS_30MV;
  hcomp4.Init.BlankingSrce = COMP_BLANKINGSRC_NONE;
  hcomp4.Init.TriggerMode = COMP_TRIGGERMODE_NONE;
  if (HAL_COMP_Init(&hcomp4) != HAL_OK)
  {
    Error_Handler();
  }

}

static void MX_DAC1_Init(void)
{

  DAC_ChannelConfTypeDef sConfig = {0};

  /** DAC Initialization
  */
  hdac1.Instance = DAC1;
  if (HAL_DAC_Init(&hdac1) != HAL_OK)
  {
    Error_Handler();
  }

  /** DAC channel OUT1 config
  */
  sConfig.DAC_HighFrequency = DAC_HIGH_FREQUENCY_INTERFACE_MODE_AUTOMATIC;
  sConfig.DAC_DMADoubleDataMode = DISABLE;
  sConfig.DAC_SignedFormat = DISABLE;
  sConfig.DAC_SampleAndHold = DAC_SAMPLEANDHOLD_DISABLE;
  sConfig.DAC_Trigger = DAC_TRIGGER_NONE;
  sConfig.DAC_Trigger2 = DAC_TRIGGER_NONE;
  sConfig.DAC_OutputBuffer = DAC_OUTPUTBUFFER_DISABLE;
  sConfig.DAC_ConnectOnChipPeripheral = DAC_CHIPCONNECT_INTERNAL;
  sConfig.DAC_UserTrimming = DAC_TRIMMING_FACTORY;
  if (HAL_DAC_ConfigChannel(&hdac1, &sConfig, DAC_CHANNEL_1) != HAL_OK)
  {
    Error_Handler();
  }

  /** DAC channel OUT2 config
  */
  sConfig.DAC_OutputBuffer = DAC_OUTPUTBUFFER_ENABLE;
  sConfig.DAC_ConnectOnChipPeripheral = DAC_CHIPCONNECT_EXTERNAL;
  if (HAL_DAC_ConfigChannel(&hdac1, &sConfig, DAC_CHANNEL_2) != HAL_OK)
  {
    Error_Handler();
  }

}

static void MX_DAC3_Init(void)
{

  DAC_ChannelConfTypeDef sConfig = {0};

  /** DAC Initialization
  */
  hdac3.Instance = DAC3;
  if (HAL_DAC_Init(&hdac3) != HAL_OK)
  {
    Error_Handler();
  }

  /** DAC channel OUT1 config
  */
  sConfig.DAC_HighFrequency = DAC_HIGH_FREQUENCY_INTERFACE_MODE_AUTOMATIC;
  sConfig.DAC_DMADoubleDataMode = DISABLE;
  sConfig.DAC_SignedFormat = DISABLE;
  sConfig.DAC_SampleAndHold = DAC_SAMPLEANDHOLD_DISABLE;
  sConfig.DAC_Trigger = DAC_TRIGGER_NONE;
  sConfig.DAC_Trigger2 = DAC_TRIGGER_NONE;
  sConfig.DAC_OutputBuffer = DAC_OUTPUTBUFFER_DISABLE;
  sConfig.DAC_ConnectOnChipPeripheral = DAC_CHIPCONNECT_INTERNAL;
  sConfig.DAC_UserTrimming = DAC_TRIMMING_FACTORY;
  if (HAL_DAC_ConfigChannel(&hdac3, &sConfig, DAC_CHANNEL_1) != HAL_OK)
  {
    Error_Handler();
  }

  /** DAC channel OUT2 config
  */
  if (HAL_DAC_ConfigChannel(&hdac3, &sConfig, DAC_CHANNEL_2) != HAL_OK)
  {
    Error_Handler();
  }

}

static void MX_OPAMP2_Init(void)
{

  LL_OPAMP_InitTypeDef OPAMP_InitStruct = {0};

  LL_GPIO_InitTypeDef GPIO_InitStruct = {0};

  LL_AHB2_GRP1_EnableClock(LL_AHB2_GRP1_PERIPH_GPIOA);
  LL_AHB2_GRP1_EnableClock(LL_AHB2_GRP1_PERIPH_GPIOB);
  /**OPAMP2 GPIO Configuration
  PA6   ------> OPAMP2_VOUT
  PB0   ------> OPAMP2_VINP
  */
  GPIO_InitStruct.Pin = LL_GPIO_PIN_6;
  GPIO_InitStruct.Mode = LL_GPIO_MODE_ANALOG;
  GPIO_InitStruct.Pull = LL_GPIO_PULL_NO;
  LL_GPIO_Init(GPIOA, &GPIO_InitStruct);

  GPIO_InitStruct.Pin = LL_GPIO_PIN_0;
  GPIO_InitStruct.Mode = LL_GPIO_MODE_ANALOG;
  GPIO_InitStruct.Pull = LL_GPIO_PULL_NO;
  LL_GPIO_Init(GPIOB, &GPIO_InitStruct);

  OPAMP_InitStruct.PowerMode = LL_OPAMP_POWERMODE_HIGHSPEED;
  OPAMP_InitStruct.FunctionalMode = LL_OPAMP_MODE_PGA;
  OPAMP_InitStruct.InputNonInverting = LL_OPAMP_INPUT_NONINVERT_IO2;
  OPAMP_InitStruct.InputInverting = LL_OPAMP_INPUT_INVERT_CONNECT_NO;
  LL_OPAMP_Init(OPAMP2, &OPAMP_InitStruct);
  LL_OPAMP_SetInputsMuxMode(OPAMP2, LL_OPAMP_INPUT_MUX_DISABLE);
  LL_OPAMP_SetInternalOutput(OPAMP2, LL_OPAMP_INTERNAL_OUPUT_DISABLED);
  LL_OPAMP_SetPGAGain(OPAMP2, LL_OPAMP_PGA_GAIN_2_OR_MINUS_1);
  LL_OPAMP_SetTrimmingMode(OPAMP2, LL_OPAMP_TRIMMING_FACTORY);

}

static void MX_OPAMP6_Init(void)
{

  LL_OPAMP_InitTypeDef OPAMP_InitStruct = {0};

  LL_GPIO_InitTypeDef GPIO_InitStruct = {0};

  LL_AHB2_GRP1_EnableClock(LL_AHB2_GRP1_PERIPH_GPIOB);
  /**OPAMP6 GPIO Configuration
  PB11   ------> OPAMP6_VOUT
  PB13   ------> OPAMP6_VINP
  */
  GPIO_InitStruct.Pin = LL_GPIO_PIN_11;
  GPIO_InitStruct.Mode = LL_GPIO_MODE_ANALOG;
  GPIO_InitStruct.Pull = LL_GPIO_PULL_NO;
  LL_GPIO_Init(GPIOB, &GPIO_InitStruct);

  GPIO_InitStruct.Pin = LL_GPIO_PIN_13;
  GPIO_InitStruct.Mode = LL_GPIO_MODE_ANALOG;
  GPIO_InitStruct.Pull = LL_GPIO_PULL_NO;
  LL_GPIO_Init(GPIOB, &GPIO_InitStruct);

  OPAMP_InitStruct.PowerMode = LL_OPAMP_POWERMODE_HIGHSPEED;
  OPAMP_InitStruct.FunctionalMode = LL_OPAMP_MODE_FOLLOWER;
  OPAMP_InitStruct.InputNonInverting = LL_OPAMP_INPUT_NONINVERT_IO2;
  LL_OPAMP_Init(OPAMP6, &OPAMP_InitStruct);
  LL_OPAMP_SetInputsMuxMode(OPAMP6, LL_OPAMP_INPUT_MUX_DISABLE);
  LL_OPAMP_SetInternalOutput(OPAMP6, LL_OPAMP_INTERNAL_OUPUT_DISABLED);
  LL_OPAMP_SetTrimmingMode(OPAMP6, LL_OPAMP_TRIMMING_FACTORY);
  /* USER CODE BEGIN OPAMP6_Init 2 */
  //OPAMP_InitStruct.InputNonInverting = LL_OPAMP_INPUT_NONINVERT_DAC; !!!!!!!!!!!!!
  /* USER CODE END OPAMP6_Init 2 */

}

static void MX_SPI3_Init(void)
{

  /* SPI3 parameter configuration*/
  hspi3.Instance = SPI3;
  hspi3.Init.Mode = SPI_MODE_MASTER;
  hspi3.Init.Direction = SPI_DIRECTION_2LINES;
  hspi3.Init.DataSize = SPI_DATASIZE_16BIT;
  hspi3.Init.CLKPolarity = SPI_POLARITY_LOW;
  hspi3.Init.CLKPhase = SPI_PHASE_1EDGE;
  hspi3.Init.NSS = SPI_NSS_SOFT;
  hspi3.Init.BaudRatePrescaler = SPI_BAUDRATEPRESCALER_8;
  hspi3.Init.FirstBit = SPI_FIRSTBIT_MSB;
  hspi3.Init.TIMode = SPI_TIMODE_DISABLE;
  hspi3.Init.CRCCalculation = SPI_CRCCALCULATION_DISABLE;
  hspi3.Init.CRCPolynomial = 7;
  hspi3.Init.CRCLength = SPI_CRC_LENGTH_DATASIZE;
  hspi3.Init.NSSPMode = SPI_NSS_PULSE_ENABLE;
  if (HAL_SPI_Init(&hspi3) != HAL_OK)
  {
    Error_Handler();
  }

}

static void MX_TIM1_Init(void)
{

  TIM_ClockConfigTypeDef sClockSourceConfig = {0};
  TIM_MasterConfigTypeDef sMasterConfig = {0};
  TIMEx_BreakInputConfigTypeDef sBreakInputConfig = {0};
  TIM_OC_InitTypeDef sConfigOC = {0};
  TIM_BreakDeadTimeConfigTypeDef sBreakDeadTimeConfig = {0};

  htim1.Instance = TIM1;
  htim1.Init.Prescaler = 0;
  htim1.Init.CounterMode = TIM_COUNTERMODE_UP;
  htim1.Init.Period = 65535;
  htim1.Init.ClockDivision = TIM_CLOCKDIVISION_DIV1;
  htim1.Init.RepetitionCounter = 0;
  htim1.Init.AutoReloadPreload = TIM_AUTORELOAD_PRELOAD_DISABLE;
  if (HAL_TIM_Base_Init(&htim1) != HAL_OK)
  {
    Error_Handler();
  }
  sClockSourceConfig.ClockSource = TIM_CLOCKSOURCE_INTERNAL;
  if (HAL_TIM_ConfigClockSource(&htim1, &sClockSourceConfig) != HAL_OK)
  {
    Error_Handler();
  }
  if (HAL_TIM_PWM_Init(&htim1) != HAL_OK)
  {
    Error_Handler();
  }
  if (HAL_TIM_OnePulse_Init(&htim1, TIM_OPMODE_SINGLE) != HAL_OK)
  {
    Error_Handler();
  }
  sMasterConfig.MasterOutputTrigger = TIM_TRGO_UPDATE;
  sMasterConfig.MasterOutputTrigger2 = TIM_TRGO2_RESET;
  sMasterConfig.MasterSlaveMode = TIM_MASTERSLAVEMODE_DISABLE;
  if (HAL_TIMEx_MasterConfigSynchronization(&htim1, &sMasterConfig) != HAL_OK)
  {
    Error_Handler();
  }
  sBreakInputConfig.Source = TIM_BREAKINPUTSOURCE_COMP1;
  sBreakInputConfig.Enable = TIM_BREAKINPUTSOURCE_ENABLE;
  sBreakInputConfig.Polarity = TIM_BREAKINPUTSOURCE_POLARITY_HIGH;
  if (HAL_TIMEx_ConfigBreakInput(&htim1, TIM_BREAKINPUT_BRK, &sBreakInputConfig) != HAL_OK)
  {
    Error_Handler();
  }
  sBreakInputConfig.Source = TIM_BREAKINPUTSOURCE_COMP4;
  if (HAL_TIMEx_ConfigBreakInput(&htim1, TIM_BREAKINPUT_BRK, &sBreakInputConfig) != HAL_OK)
  {
    Error_Handler();
  }
  sConfigOC.OCMode = TIM_OCMODE_PWM1;
  sConfigOC.Pulse = 65535;
  sConfigOC.OCPolarity = TIM_OCPOLARITY_LOW;
  sConfigOC.OCNPolarity = TIM_OCNPOLARITY_HIGH;
  sConfigOC.OCFastMode = TIM_OCFAST_ENABLE;
  sConfigOC.OCIdleState = TIM_OCIDLESTATE_SET;
  sConfigOC.OCNIdleState = TIM_OCNIDLESTATE_RESET;
  if (HAL_TIM_PWM_ConfigChannel(&htim1, &sConfigOC, TIM_CHANNEL_2) != HAL_OK)
  {
    Error_Handler();
  }
  sBreakDeadTimeConfig.OffStateRunMode = TIM_OSSR_ENABLE;
  sBreakDeadTimeConfig.OffStateIDLEMode = TIM_OSSI_ENABLE;
  sBreakDeadTimeConfig.LockLevel = TIM_LOCKLEVEL_OFF;
  sBreakDeadTimeConfig.DeadTime = 0;
  sBreakDeadTimeConfig.BreakState = TIM_BREAK_ENABLE;
  sBreakDeadTimeConfig.BreakPolarity = TIM_BREAKPOLARITY_HIGH;
  sBreakDeadTimeConfig.BreakFilter = 5;
  sBreakDeadTimeConfig.BreakAFMode = TIM_BREAK_AFMODE_INPUT;
  sBreakDeadTimeConfig.Break2State = TIM_BREAK2_DISABLE;
  sBreakDeadTimeConfig.Break2Polarity = TIM_BREAK2POLARITY_HIGH;
  sBreakDeadTimeConfig.Break2Filter = 0;
  sBreakDeadTimeConfig.Break2AFMode = TIM_BREAK_AFMODE_INPUT;
  sBreakDeadTimeConfig.AutomaticOutput = TIM_AUTOMATICOUTPUT_DISABLE;
  if (HAL_TIMEx_ConfigBreakDeadTime(&htim1, &sBreakDeadTimeConfig) != HAL_OK)
  {
    Error_Handler();
  }
  HAL_TIM_MspPostInit(&htim1);

}

static void MX_DMA_Init(void)
{

  /* DMA controller clock enable */
  __HAL_RCC_DMAMUX1_CLK_ENABLE();
  __HAL_RCC_DMA1_CLK_ENABLE();

  /* DMA interrupt init */
  /* DMA1_Channel1_IRQn interrupt configuration */
  HAL_NVIC_SetPriority(DMA1_Channel1_IRQn, 1, 0);
  HAL_NVIC_EnableIRQ(DMA1_Channel1_IRQn);

}

static void MX_GPIO_Init(void)
{
  GPIO_InitTypeDef GPIO_InitStruct = {0};

  /* GPIO Ports Clock Enable */
  __HAL_RCC_GPIOC_CLK_ENABLE();
  __HAL_RCC_GPIOF_CLK_ENABLE();
  __HAL_RCC_GPIOA_CLK_ENABLE();
  __HAL_RCC_GPIOB_CLK_ENABLE();

  /*Configure GPIO pin Output Level */
  HAL_GPIO_WritePin(STATUS1_GPIO_Port, STATUS1_Pin, GPIO_PIN_RESET);

  /*Configure GPIO pin : STATUS1_Pin */
  GPIO_InitStruct.Pin = STATUS1_Pin;
  GPIO_InitStruct.Mode = GPIO_MODE_OUTPUT_PP;
  GPIO_InitStruct.Pull = GPIO_NOPULL;
  GPIO_InitStruct.Speed = GPIO_SPEED_FREQ_LOW;
  HAL_GPIO_Init(STATUS1_GPIO_Port, &GPIO_InitStruct);

  /*Configure GPIO pins : PA4 PA10 */
  GPIO_InitStruct.Pin = GPIO_PIN_4|GPIO_PIN_10;
  GPIO_InitStruct.Mode = GPIO_MODE_INPUT;
  GPIO_InitStruct.Pull = GPIO_NOPULL;
  HAL_GPIO_Init(GPIOA, &GPIO_InitStruct);

  /*Configure GPIO pin : PA11 */
  GPIO_InitStruct.Pin = GPIO_PIN_11;
  GPIO_InitStruct.Mode = GPIO_MODE_IT_RISING;
  GPIO_InitStruct.Pull = GPIO_NOPULL;
  HAL_GPIO_Init(GPIOA, &GPIO_InitStruct);

}

/* USER CODE BEGIN 4 */
void HAL_TIMEx_BreakCallback(TIM_HandleTypeDef *htim)
{
  /* Prevent unused argument(s) compilation warning */
  UNUSED(htim);
  if(Status_Val != 0x15) // NO GRID INSERTION
  {

  }
  else if (Status_Val == 0x15) // GRID INSERTION
  {

	  }
  /* NOTE : This function should not be modified, when the callback is needed,
            the HAL_TIMEx_BreakCallback could be implemented in the user file
   */
}

uint16_t GetLSB(uint32_t intValue)
{
	return (intValue & 0x0000FFFF);
}

uint16_t GetMSB(uint32_t intValue)
{
    return ((intValue & 0xFFFF0000)) >> 16;
}

void spi_w16( SPI_TypeDef *SPIx, uint16_t dat ) {
  // Wait for TXE 'transmit buffer empty' bit to be set.
  while ( !( SPIx->SR & SPI_SR_TXE ) ) {};
  // Send the bytes.
  *( uint16_t* )&( SPIx->DR ) = dat;
}

void SPIx_Transfer2(SPI_TypeDef *SPIx, uint16_t *outp, uint16_t *inp, uint16_t count) {
    while(count--) {
        while(!(SPIx->SR & SPI_SR_TXE))
            ;
        *(volatile uint16_t *)&SPIx->DR = *outp++;
        while(!(SPIx->SR & SPI_SR_RXNE))
            ;
        *inp++ = *(volatile uint16_t *)&SPIx->DR;
    }
}

static void CORRECT_OPAMP6_Init(void)
{

  /* USER CODE BEGIN OPAMP6_Init 0 */

  /* USER CODE END OPAMP6_Init 0 */

  LL_OPAMP_InitTypeDef OPAMP_InitStruct = {0};

  LL_GPIO_InitTypeDef GPIO_InitStruct = {0};

  LL_AHB2_GRP1_EnableClock(LL_AHB2_GRP1_PERIPH_GPIOB);
  /**OPAMP6 GPIO Configuration
  PB11   ------> OPAMP6_VOUT
  PB13   ------> OPAMP6_VINP
  */
  GPIO_InitStruct.Pin = LL_GPIO_PIN_11;
  GPIO_InitStruct.Mode = LL_GPIO_MODE_ANALOG;
  GPIO_InitStruct.Pull = LL_GPIO_PULL_NO;
  LL_GPIO_Init(GPIOB, &GPIO_InitStruct);

  GPIO_InitStruct.Pin = LL_GPIO_PIN_13;
  GPIO_InitStruct.Mode = LL_GPIO_MODE_ANALOG;
  GPIO_InitStruct.Pull = LL_GPIO_PULL_NO;
  LL_GPIO_Init(GPIOB, &GPIO_InitStruct);

  /* USER CODE BEGIN OPAMP6_Init 1 */

  /* USER CODE END OPAMP6_Init 1 */
  OPAMP_InitStruct.PowerMode = LL_OPAMP_POWERMODE_HIGHSPEED;
  OPAMP_InitStruct.FunctionalMode = LL_OPAMP_MODE_FOLLOWER;
  OPAMP_InitStruct.InputNonInverting = LL_OPAMP_INPUT_NONINVERT_DAC;
  LL_OPAMP_Init(OPAMP6, &OPAMP_InitStruct);
  LL_OPAMP_SetInputsMuxMode(OPAMP6, LL_OPAMP_INPUT_MUX_DISABLE);
  LL_OPAMP_SetInternalOutput(OPAMP6, LL_OPAMP_INTERNAL_OUPUT_DISABLED);
  LL_OPAMP_SetTrimmingMode(OPAMP6, LL_OPAMP_TRIMMING_FACTORY);
  /* USER CODE BEGIN OPAMP6_Init 2 */
  //OPAMP_InitStruct.InputNonInverting = LL_OPAMP_INPUT_NONINVERT_DAC; !!!!!!!!!!!!!
  /* USER CODE END OPAMP6_Init 2 */

}

//Microsecond delay
void delay_us(uint32_t delay_us)
{
  volatile unsigned int num;
  volatile unsigned int t;

  for (num = 0; num < delay_us; num++)
  {
    t = 11;
    while (t != 0)
    {
      t--;
    }
  }
}

void __attribute__( ( optimize( "O0" ) ) )
delay_cycles( uint32_t cyc ) {
  for ( uint32_t d_i = 0; d_i < cyc; ++d_i ) { asm( "NOP" ); }
}
/* USER CODE END 4 */

void Error_Handler(void)
{
  __disable_irq();
  while (1)
  {
  }
}
